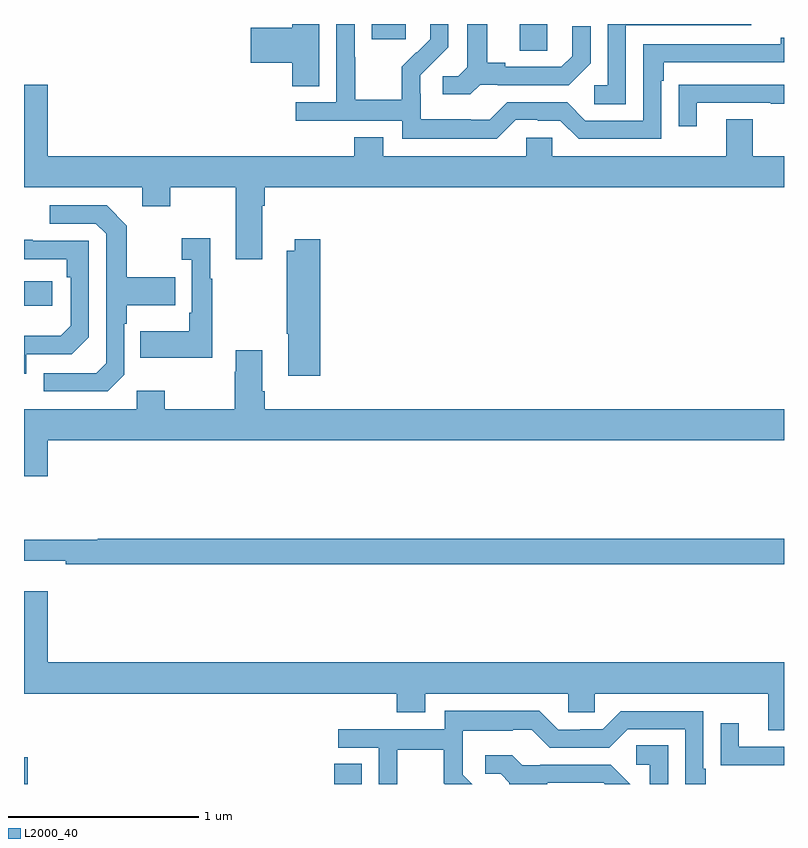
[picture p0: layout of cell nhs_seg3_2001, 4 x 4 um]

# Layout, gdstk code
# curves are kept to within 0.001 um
import gdstk
lib = gdstk.Library(unit=1e-6, precision=1e-09)
def R(c, l, rs):  # rectangles x0, y0, x1, y1
    for r in rs: c.add(gdstk.rectangle(r[:2], r[2:], *l))
def P(c, l, *ps):  # polygons
    for p in ps: c.add(gdstk.Polygon(p, *l))
L2000_40 = (2000, 40)

nhs_seg3_2001 = lib.new_cell('nhs_seg3_2001')
R(nhs_seg3_2001, L2000_40, [(213,740.4,213.019,740.541), (214.634,740.4,214.777,740.507), (213,742.916,213.148,743.046), (215.609,744.259,215.754,744.4), (214.829,744.321,215.008,744.4)])
P(nhs_seg3_2001, L2000_40, [(216.168,744.393),(216.827,744.393),(216.827,744.4),(216.072,744.4),(216.072,744.078),(216,744.078),(216,743.977),(216.168,743.977)],
  [(215.589,743.895),(215.705,743.895),(215.705,743.892),(215.823,743.892),(215.919,743.796),(216.354,743.796),(216.354,744.101),(216.367,744.101),(216.367,744.198),(217,744.198),(217,744.328),(216.983,744.328),(216.983,744.294),(216.258,744.294),(216.258,743.892),(215.955,743.892),(215.859,743.988),(215.544,743.988),(215.451,743.895),(215.351,743.895),(215.351,743.899),(215.088,743.899),(215.088,744.033),(215.086,744.033),(215.086,744.13),(215.232,744.278),(215.232,744.4),(215.138,744.4),(215.138,744.32),(215.067,744.249),(215.064,744.252),(214.987,744.175),(214.987,744.001),(214.743,744.001),(214.743,744.224),(214.74,744.224),(214.74,744.4),(214.644,744.4),(214.644,743.988),(214.431,743.988),(214.431,743.892),(214.992,743.892),(214.992,743.795),(215.489,743.795)],
  [(214.555,744.4),(214.412,744.4),(214.412,744.38),(214.194,744.38),(214.194,744.197),(214.412,744.197),(214.412,744.073),(214.555,744.073)],
  [(215.4,744.081),(215.494,744.081),(215.494,744.078),(215.866,744.078),(215.982,744.194),(215.982,744.388),(215.885,744.388),(215.885,744.231),(215.828,744.174),(215.533,744.174),(215.533,744.197),(215.437,744.197),(215.437,744.4),(215.333,744.4),(215.333,744.173),(215.286,744.126),(215.205,744.126),(215.205,744.029),(215.348,744.029)],
  [(216.541,743.985),(216.931,743.985),(216.931,743.98),(217,743.98),(217,744.081),(216.547,744.081),(216.547,744.08),(216.445,744.08),(216.445,743.862),(216.541,743.862)],
  [(214.255,743.444),(214.268,743.444),(214.268,743.54),(217,743.54),(217,743.704),(216.835,743.704),(216.835,743.899),(216.695,743.899),(216.695,743.704),(215.781,743.704),(215.781,743.802),(215.643,743.802),(215.643,743.704),(214.891,743.704),(214.891,743.803),(214.739,743.803),(214.739,743.704),(213.124,743.704),(213.124,744.079),(213,744.079),(213,743.54),(213.623,743.54),(213.623,743.441),(213.771,743.441),(213.771,743.54),(214.115,743.54),(214.115,743.163),(214.255,743.163)],
  [(213.528,742.554),(213.528,742.823),(213.541,742.823),(213.541,742.919),(213.797,742.919),(213.797,743.067),(213.541,743.067),(213.541,743.339),(213.435,743.445),(213.135,743.445),(213.135,743.349),(213.378,743.349),(213.432,743.295),(213.432,742.614),(213.381,742.563),(213.105,742.563),(213.105,742.467),(213.441,742.467)],
  [(213.991,743.059),(213.979,743.059),(213.979,743.272),(213.831,743.272),(213.831,743.159),(213.882,743.159),(213.882,742.879),(213.87,742.879),(213.87,742.783),(213.613,742.783),(213.613,742.643),(213.991,742.643)],
  [(214.559,743.266),(214.424,743.266),(214.424,743.206),(214.384,743.206),(214.384,742.771),(214.391,742.771),(214.391,742.548),(214.559,742.548)],
  [(213.012,742.662),(213.252,742.662),(213.342,742.752),(213.342,743.259),(213.047,743.259),(213.047,743.264),(213,743.264),(213,743.163),(213.226,743.163),(213.226,743.066),(213.246,743.066),(213.246,742.812),(213.193,742.759),(213,742.759),(213,742.56),(213.012,742.56)],
  [(213.124,742.208),(217,742.208),(217,742.372),(214.268,742.372),(214.268,742.468),(214.255,742.468),(214.255,742.684),(214.115,742.684),(214.115,742.571),(214.108,742.571),(214.108,742.372),(213.741,742.372),(213.741,742.471),(213.594,742.471),(213.594,742.372),(213,742.372),(213,742.02),(213.124,742.02)],
  [(217,741.692),(213.389,741.692),(213.389,741.685),(213,741.685),(213,741.575),(213.22,741.575),(213.22,741.556),(217,741.556)],
  [(217,741.04),(213.124,741.04),(213.124,741.415),(213,741.415),(213,740.876),(214.961,740.876),(214.961,740.777),(215.113,740.777),(215.113,740.876),(215.865,740.876),(215.865,740.778),(216.003,740.778),(216.003,740.876),(216.917,740.876),(216.917,740.682),(217,740.682)],
  [(214.965,740.58),(215.209,740.58),(215.209,740.405),(215.214,740.4),(215.358,740.4),(215.308,740.45),(215.308,740.547),(215.31,740.547),(215.31,740.681),(215.573,740.681),(215.573,740.685),(215.673,740.685),(215.766,740.592),(216.081,740.592),(216.177,740.688),(216.48,740.688),(216.48,740.4),(216.589,740.4),(216.589,740.479),(216.576,740.479),(216.576,740.784),(216.141,740.784),(216.045,740.688),(215.927,740.688),(215.927,740.685),(215.811,740.685),(215.711,740.785),(215.214,740.785),(215.214,740.688),(214.653,740.688),(214.653,740.592),(214.866,740.592),(214.866,740.4),(214.965,740.4)],
  [(217,740.595),(216.763,740.595),(216.763,740.719),(216.667,740.719),(216.667,740.5),(216.769,740.5),(216.769,740.499),(217,740.499)],
  [(216.39,740.603),(216.222,740.603),(216.222,740.502),(216.294,740.502),(216.294,740.4),(216.39,740.4)],
  [(215.755,740.406),(216.05,740.406),(216.056,740.4),(216.19,740.4),(216.088,740.502),(215.716,740.502),(215.716,740.499),(215.622,740.499),(215.57,740.551),(215.427,740.551),(215.427,740.454),(215.508,740.454),(215.555,740.407),(215.555,740.4),(215.755,740.4)])

lib.write_gds('nhs_seg3_2001.gds')
